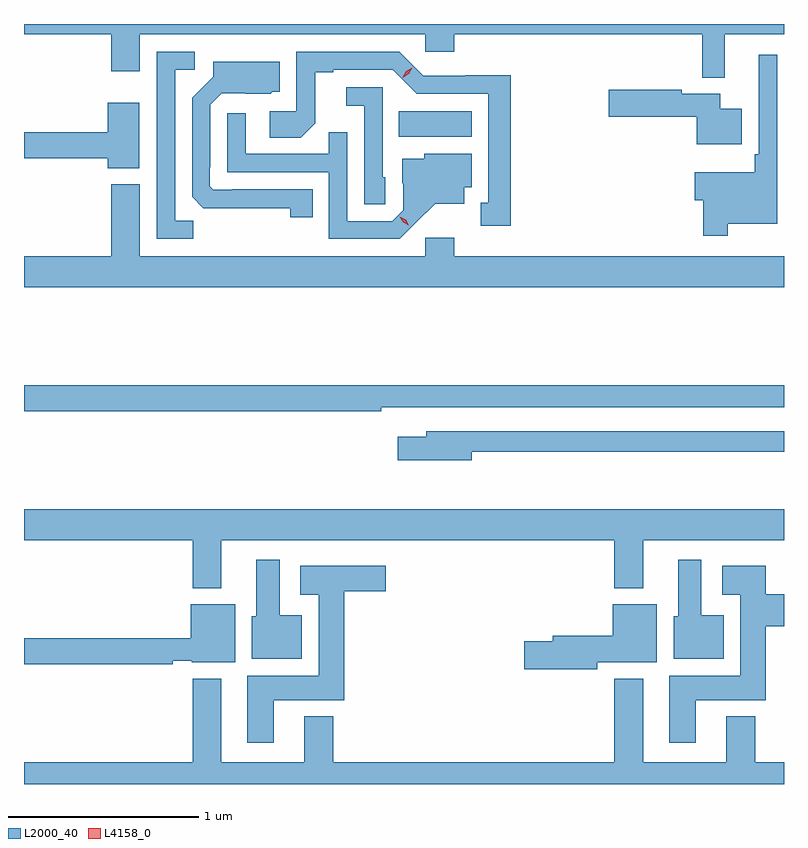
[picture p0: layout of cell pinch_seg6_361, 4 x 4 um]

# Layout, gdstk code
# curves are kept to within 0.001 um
import gdstk
lib = gdstk.Library(unit=1e-6, precision=1e-09)
def R(c, l, rs):  # rectangles x0, y0, x1, y1
    for r in rs: c.add(gdstk.rectangle(r[:2], r[2:], *l))
def P(c, l, *ps):  # polygons
    for p in ps: c.add(gdstk.Polygon(p, *l))
L2000_40 = (2000, 40)
L4158_0 = (4158, 0)

pinch_seg6_361 = lib.new_cell('pinch_seg6_361')
R(pinch_seg6_361, L2000_40, [(665.95,949.46,666.334,949.594)])
P(pinch_seg6_361, L2000_40, [(667.667,950),(667.978,950),(667.978,950.054),(663.978,950.054),(663.978,950),(664.436,950),(664.436,949.806),(664.588,949.806),(664.588,950),(666.09,950),(666.09,949.907),(666.242,949.907),(666.242,950),(667.549,950),(667.549,949.772),(667.667,949.772)],
  [(666.541,949.784),(666.3,949.784),(666.3,949.782),(666.078,949.782),(665.952,949.908),(665.412,949.908),(665.412,949.596),(665.271,949.596),(665.271,949.456),(665.435,949.456),(665.511,949.532),(665.511,949.8),(665.605,949.8),(665.605,949.812),(665.919,949.812),(666.045,949.686),(666.422,949.686),(666.422,949.113),(666.383,949.113),(666.383,948.993),(666.541,948.993)],
  [(664.869,949.019),(664.773,949.019),(664.773,949.812),(664.876,949.812),(664.876,949.908),(664.677,949.908),(664.677,948.924),(664.869,948.924)],
  [(667.681,949.004),(667.942,949.004),(667.942,949.891),(667.845,949.891),(667.845,949.369),(667.825,949.369),(667.825,949.273),(667.508,949.273),(667.508,949.126),(667.552,949.126),(667.552,948.939),(667.681,948.939)],
  [(665.498,949.185),(665.074,949.185),(665.074,949.182),(664.974,949.182),(664.956,949.2),(664.956,949.3),(664.959,949.3),(664.959,949.629),(665.019,949.689),(665.276,949.688),(665.285,949.697),(665.323,949.697),(665.323,949.855),(664.973,949.855),(664.973,949.776),(664.863,949.666),(664.863,949.144),(664.922,949.085),(665.38,949.084),(665.38,949.038),(665.498,949.038)],
  [(665.88,949.248),(665.865,949.248),(665.865,949.722),(665.673,949.722),(665.673,949.625),(665.769,949.625),(665.769,949.105),(665.88,949.105)],
  [(667.756,949.609),(667.642,949.609),(667.642,949.687),(667.44,949.687),(667.44,949.707),(667.056,949.707),(667.056,949.565),(667.52,949.565),(667.52,949.421),(667.756,949.421)],
  [(664.585,949.639),(664.418,949.639),(664.418,949.484),(663.978,949.484),(663.978,949.348),(664.418,949.348),(664.418,949.295),(664.585,949.295)],
  [(666.04,949.007),(666.143,949.109),(666.295,949.109),(666.295,949.196),(666.334,949.196),(666.334,949.372),(666.084,949.372),(666.084,949.345),(665.969,949.345),(665.969,949.216),(665.973,949.216),(665.973,949.074),(665.916,949.017),(665.679,949.017),(665.679,949.484),(665.581,949.484),(665.581,949.371),(665.145,949.371),(665.145,949.585),(665.049,949.585),(665.049,949.275),(665.583,949.275),(665.583,948.924),(665.956,948.924)],
  [(667.978,948.832),(666.242,948.832),(666.242,948.928),(666.09,948.928),(666.09,948.832),(664.588,948.832),(664.588,949.21),(664.436,949.21),(664.436,948.832),(663.978,948.832),(663.978,948.668),(667.978,948.668)],
  [(665.858,948.036),(667.978,948.036),(667.978,948.152),(663.978,948.152),(663.978,948.016),(665.858,948.016)],
  [(666.334,947.802),(667.978,947.802),(667.978,947.91),(666.095,947.91),(666.095,947.881),(665.946,947.881),(665.946,947.759),(666.334,947.759)],
  [(665.017,947.336),(667.085,947.336),(667.085,947.084),(667.237,947.084),(667.237,947.336),(667.978,947.336),(667.978,947.5),(663.978,947.5),(663.978,947.336),(664.865,947.336),(664.865,947.084),(665.017,947.084)],
  [(667.66,946.942),(667.543,946.942),(667.543,947.233),(667.421,947.233),(667.421,946.938),(667.397,946.938),(667.397,946.712),(667.66,946.712)],
  [(665.44,946.942),(665.323,946.942),(665.323,947.233),(665.201,947.233),(665.201,946.938),(665.177,946.938),(665.177,946.712),(665.44,946.712)],
  [(667.513,946.496),(667.883,946.496),(667.883,946.883),(667.978,946.883),(667.978,947.053),(667.883,947.053),(667.883,947.203),(667.653,947.203),(667.653,947.051),(667.748,947.051),(667.748,946.624),(667.373,946.624),(667.373,946.272),(667.513,946.272)],
  [(665.293,946.496),(665.663,946.496),(665.663,947.069),(665.881,947.069),(665.881,947.203),(665.433,947.203),(665.433,947.051),(665.528,947.051),(665.528,946.624),(665.153,946.624),(665.153,946.272),(665.293,946.272)],
  [(666.996,946.694),(667.309,946.694),(667.309,946.999),(667.076,946.999),(667.076,946.835),(666.761,946.835),(666.761,946.805),(666.612,946.805),(666.612,946.658),(666.996,946.658)],
  [(664.76,946.704),(664.86,946.704),(664.86,946.694),(665.089,946.694),(665.089,946.999),(664.856,946.999),(664.856,946.82),(663.978,946.82),(663.978,946.684),(664.76,946.684)],
  [(667.978,946.168),(667.826,946.168),(667.826,946.411),(667.673,946.411),(667.673,946.168),(667.237,946.168),(667.237,946.609),(667.085,946.609),(667.085,946.168),(665.606,946.168),(665.606,946.411),(665.453,946.411),(665.453,946.168),(665.017,946.168),(665.017,946.609),(664.865,946.609),(664.865,946.168),(663.978,946.168),(663.978,946.054),(667.978,946.054)])
P(pinch_seg6_361, L4158_0, [(665.972,949.772),(665.972,949.773),(665.989,949.805),(666.021,949.824),(666.021,949.824),(666.021,949.824),(666.004,949.791),(665.972,949.772)],
  [(666.003,948.995),(665.973,949.01),(665.956,949.039),(665.956,949.04),(665.956,949.04),(665.986,949.025),(666.003,948.995),(666.003,948.995)])

lib.write_gds('pinch_seg6_361.gds')
